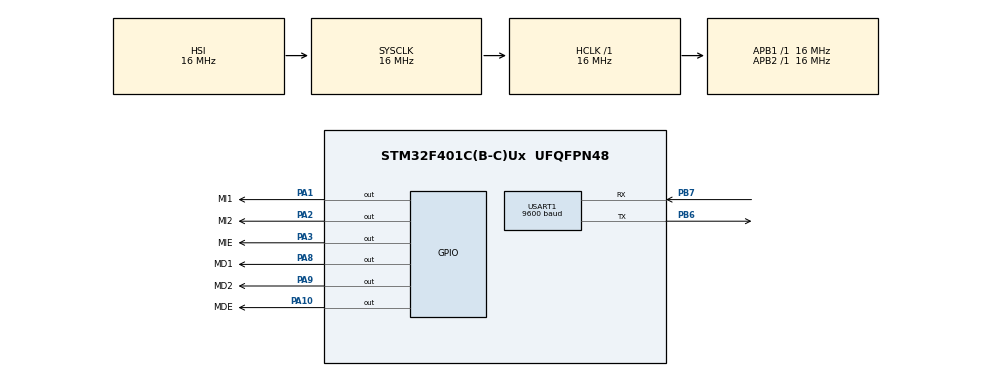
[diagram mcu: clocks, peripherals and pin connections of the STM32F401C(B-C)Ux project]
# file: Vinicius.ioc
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Mcu.Family=STM32F4
Mcu.Name=STM32F401C(B-C)Ux
Mcu.Package=UFQFPN48
NVIC.PriorityGroup=NVIC_PRIORITYGROUP_4
PA1.GPIO_Label=MI1
PA1.Signal=GPIO_Output
PA10.GPIO_Label=MDE
PA10.Signal=GPIO_Output
PA2.GPIO_Label=MI2
PA2.Signal=GPIO_Output
PA3.GPIO_Label=MIE
PA3.Signal=GPIO_Output
PA8.GPIO_Label=MD1
PA8.Signal=GPIO_Output
PA9.GPIO_Label=MD2
PA9.Signal=GPIO_Output
PB6.Mode=Asynchronous
PB6.Signal=USART1_TX
PB7.Mode=Asynchronous
PB7.Signal=USART1_RX
ProjectManager.HeapSize=0x200
ProjectManager.StackSize=0x400
ProjectManager.TargetToolchain=STM32CubeIDE
RCC.AHBFreq_Value=16000000
RCC.APB1Freq_Value=16000000
RCC.APB2Freq_Value=16000000
RCC.CortexFreq_Value=16000000
RCC.HSE_VALUE=25000000
RCC.HSI_VALUE=16000000
RCC.LSE_VALUE=32768
RCC.SYSCLKFreq_VALUE=16000000
RCC.VCOOutputFreq_Value=192000000
USART1.BaudRate=9600
USART1.VirtualMode=VM_ASYNC
board=custom

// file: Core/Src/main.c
/* USER CODE BEGIN Header */
/**
  ******************************************************************************
  * @file           : main.c
  * @brief          : Main program body
  ******************************************************************************
  * @attention
  *
  * Copyright (c) 2024 STMicroelectronics.
  * All rights reserved.
  *
  * This software is licensed under terms that can be found in the LICENSE file
  * in the root directory of this software component.
  * If no LICENSE file comes with this software, it is provided AS-IS.
  *
  ******************************************************************************
  */
/* USER CODE END Header */
#include "main.h"

/* USER CODE BEGIN Includes */
#include "uart.h"
/* USER CODE END Includes */

UART_HandleTypeDef huart1;

void SystemClock_Config(void);
static void MX_GPIO_Init(void);
static void MX_USART1_UART_Init(void);

/* USER CODE BEGIN 0 */
void adelante(){
	HAL_GPIO_WritePin(MI1_GPIO_Port, MI1_Pin, 0);
	HAL_GPIO_WritePin(MI2_GPIO_Port, MI2_Pin, 1);
	HAL_GPIO_WritePin(MD1_GPIO_Port, MD1_Pin, 1);
	HAL_GPIO_WritePin(MD2_GPIO_Port, MD2_Pin, 0);

	HAL_GPIO_WritePin(MIE_GPIO_Port, MIE_Pin, 1);
	HAL_GPIO_WritePin(MDE_GPIO_Port, MDE_Pin, 1);

}
void atra(){
	HAL_GPIO_WritePin(MI1_GPIO_Port, MI1_Pin, 1);
	HAL_GPIO_WritePin(MI2_GPIO_Port, MI2_Pin, 0);
	HAL_GPIO_WritePin(MD1_GPIO_Port, MD1_Pin, 0);
	HAL_GPIO_WritePin(MD2_GPIO_Port, MD2_Pin, 1);

	HAL_GPIO_WritePin(MIE_GPIO_Port, MIE_Pin, 1);
	HAL_GPIO_WritePin(MDE_GPIO_Port, MDE_Pin, 1);

}
void izquierda(){
	HAL_GPIO_WritePin(MI1_GPIO_Port, MI1_Pin, 1);
	HAL_GPIO_WritePin(MI2_GPIO_Port, MI2_Pin, 0);
	HAL_GPIO_WritePin(MD1_GPIO_Port, MD1_Pin, 1);
	HAL_GPIO_WritePin(MD2_GPIO_Port, MD2_Pin, 0);

	HAL_GPIO_WritePin(MIE_GPIO_Port, MIE_Pin, 1);
	HAL_GPIO_WritePin(MDE_GPIO_Port, MDE_Pin, 1);

}
void derecha(){
	HAL_GPIO_WritePin(MI1_GPIO_Port, MI1_Pin, 0);
	HAL_GPIO_WritePin(MI2_GPIO_Port, MI2_Pin, 1);
	HAL_GPIO_WritePin(MD1_GPIO_Port, MD1_Pin, 0);
	HAL_GPIO_WritePin(MD2_GPIO_Port, MD2_Pin, 1);

	HAL_GPIO_WritePin(MIE_GPIO_Port, MIE_Pin, 1);
	HAL_GPIO_WritePin(MDE_GPIO_Port, MDE_Pin, 1);

}
void quieto(){
	HAL_GPIO_WritePin(MI1_GPIO_Port, MI1_Pin, 0);
	HAL_GPIO_WritePin(MI2_GPIO_Port, MI2_Pin, 0);
	HAL_GPIO_WritePin(MD1_GPIO_Port, MD1_Pin, 0);
	HAL_GPIO_WritePin(MD2_GPIO_Port, MD2_Pin, 0);

	HAL_GPIO_WritePin(MIE_GPIO_Port, MIE_Pin, 0);
	HAL_GPIO_WritePin(MDE_GPIO_Port, MDE_Pin, 0);

}
/* USER CODE END 0 */

int main(void)
{

  /* MCU Configuration--------------------------------------------------------*/

  /* Reset of all peripherals, Initializes the Flash interface and the Systick. */
  HAL_Init();

  /* Configure the system clock */
  SystemClock_Config();

  /* Initialize all configured peripherals */
  MX_GPIO_Init();
  MX_USART1_UART_Init();

  /* Infinite loop */
  /* USER CODE BEGIN WHILE */
  while (1)
  {
	  //adelante();
	  //atra();
	  //izquierda();
	  //derecha();
	  quieto();
    /* USER CODE END WHILE */

  }
}

void SystemClock_Config(void)
{
  RCC_OscInitTypeDef RCC_OscInitStruct = {0};
  RCC_ClkInitTypeDef RCC_ClkInitStruct = {0};

  /** Configure the main internal regulator output voltage
  */
  __HAL_RCC_PWR_CLK_ENABLE();
  __HAL_PWR_VOLTAGESCALING_CONFIG(PWR_REGULATOR_VOLTAGE_SCALE2);

  /** Initializes the RCC Oscillators according to the specified parameters
  * in the RCC_OscInitTypeDef structure.
  */
  RCC_OscInitStruct.OscillatorType = RCC_OSCILLATORTYPE_HSI;
  RCC_OscInitStruct.HSIState = RCC_HSI_ON;
  RCC_OscInitStruct.HSICalibrationValue = RCC_HSICALIBRATION_DEFAULT;
  RCC_OscInitStruct.PLL.PLLState = RCC_PLL_NONE;
  if (HAL_RCC_OscConfig(&RCC_OscInitStruct) != HAL_OK)
  {
    Error_Handler();
  }

  /** Initializes the CPU, AHB and APB buses clocks
  */
  RCC_ClkInitStruct.ClockType = RCC_CLOCKTYPE_HCLK|RCC_CLOCKTYPE_SYSCLK
                              |RCC_CLOCKTYPE_PCLK1|RCC_CLOCKTYPE_PCLK2;
  RCC_ClkInitStruct.SYSCLKSource = RCC_SYSCLKSOURCE_HSI;
  RCC_ClkInitStruct.AHBCLKDivider = RCC_SYSCLK_DIV1;
  RCC_ClkInitStruct.APB1CLKDivider = RCC_HCLK_DIV1;
  RCC_ClkInitStruct.APB2CLKDivider = RCC_HCLK_DIV1;

  if (HAL_RCC_ClockConfig(&RCC_ClkInitStruct, FLASH_LATENCY_0) != HAL_OK)
  {
    Error_Handler();
  }
}

static void MX_USART1_UART_Init(void)
{

  huart1.Instance = USART1;
  huart1.Init.BaudRate = 9600;
  huart1.Init.WordLength = UART_WORDLENGTH_8B;
  huart1.Init.StopBits = UART_STOPBITS_1;
  huart1.Init.Parity = UART_PARITY_NONE;
  huart1.Init.Mode = UART_MODE_TX_RX;
  huart1.Init.HwFlowCtl = UART_HWCONTROL_NONE;
  huart1.Init.OverSampling = UART_OVERSAMPLING_16;
  if (HAL_UART_Init(&huart1) != HAL_OK)
  {
    Error_Handler();
  }

}

static void MX_GPIO_Init(void)
{
  GPIO_InitTypeDef GPIO_InitStruct = {0};

  /* GPIO Ports Clock Enable */
  __HAL_RCC_GPIOA_CLK_ENABLE();
  __HAL_RCC_GPIOB_CLK_ENABLE();

  /*Configure GPIO pin Output Level */
  HAL_GPIO_WritePin(GPIOA, MI1_Pin|MI2_Pin|MIE_Pin|MD1_Pin
                          |MD2_Pin|MDE_Pin, GPIO_PIN_RESET);

  /*Configure GPIO pins : MI1_Pin MI2_Pin MIE_Pin MD1_Pin
                           MD2_Pin MDE_Pin */
  GPIO_InitStruct.Pin = MI1_Pin|MI2_Pin|MIE_Pin|MD1_Pin
                          |MD2_Pin|MDE_Pin;
  GPIO_InitStruct.Mode = GPIO_MODE_OUTPUT_PP;
  GPIO_InitStruct.Pull = GPIO_NOPULL;
  GPIO_InitStruct.Speed = GPIO_SPEED_FREQ_LOW;
  HAL_GPIO_Init(GPIOA, &GPIO_InitStruct);

}

void Error_Handler(void)
{
  __disable_irq();
  while (1)
  {
  }
}
